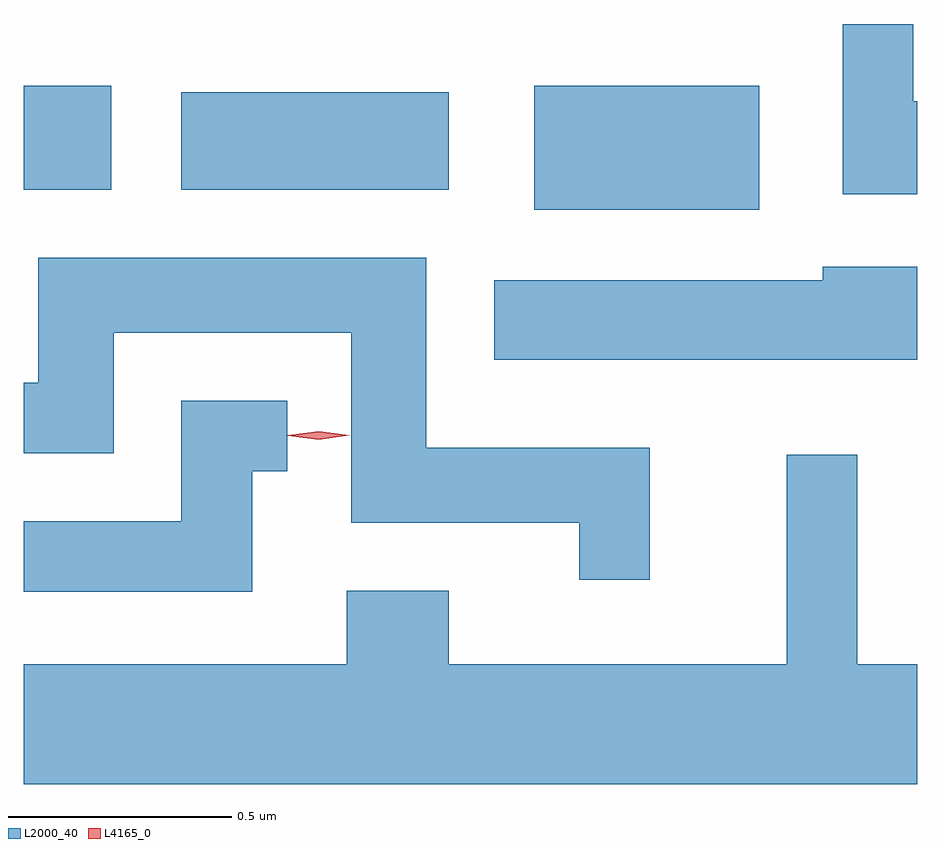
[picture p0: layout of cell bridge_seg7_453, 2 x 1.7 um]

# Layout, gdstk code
import gdstk
lib = gdstk.Library(unit=1e-6, precision=1e-09)
def R(c, l, rs):  # rectangles x0, y0, x1, y1
    for r in rs: c.add(gdstk.rectangle(r[:2], r[2:], *l))
def P(c, l, *ps):  # polygons
    for p in ps: c.add(gdstk.Polygon(p, *l))
L2000_40 = (2000, 40)
L4165_0 = (4165, 0)

bridge_seg7_453 = lib.new_cell('bridge_seg7_453')
R(bridge_seg7_453, L2000_40, [(1167.371,1706.721,1167.874,1706.999), (1166.228,1706.766,1166.424,1706.999), (1166.581,1706.766,1167.179,1706.984)])
P(bridge_seg7_453, L2000_40, [(1168.228,1706.964),(1168.219,1706.964),(1168.219,1707.137),(1168.061,1707.137),(1168.061,1706.756),(1168.228,1706.756)],
  [(1167.629,1706.189),(1167.129,1706.189),(1167.129,1706.614),(1166.261,1706.614),(1166.261,1706.334),(1166.228,1706.334),(1166.228,1706.176),(1166.429,1706.176),(1166.429,1706.446),(1166.961,1706.446),(1166.961,1706.021),(1167.471,1706.021),(1167.471,1705.893),(1167.629,1705.893)],
  [(1168.228,1706.594),(1168.016,1706.594),(1168.016,1706.564),(1167.281,1706.564),(1167.281,1706.386),(1168.228,1706.386)],
  [(1166.739,1706.136),(1166.818,1706.136),(1166.818,1706.294),(1166.581,1706.294),(1166.581,1706.024),(1166.228,1706.024),(1166.228,1705.866),(1166.739,1705.866)],
  [(1168.228,1705.704),(1168.094,1705.704),(1168.094,1706.173),(1167.936,1706.173),(1167.936,1705.704),(1167.179,1705.704),(1167.179,1705.869),(1166.951,1705.869),(1166.951,1705.704),(1166.228,1705.704),(1166.228,1705.436),(1168.228,1705.436)])
P(bridge_seg7_453, L4165_0, [(1166.888,1706.206),(1166.819,1706.215),(1166.819,1706.216),(1166.819,1706.216),(1166.888,1706.226),(1166.958,1706.217),(1166.958,1706.216),(1166.958,1706.216)])

lib.write_gds('bridge_seg7_453.gds')
